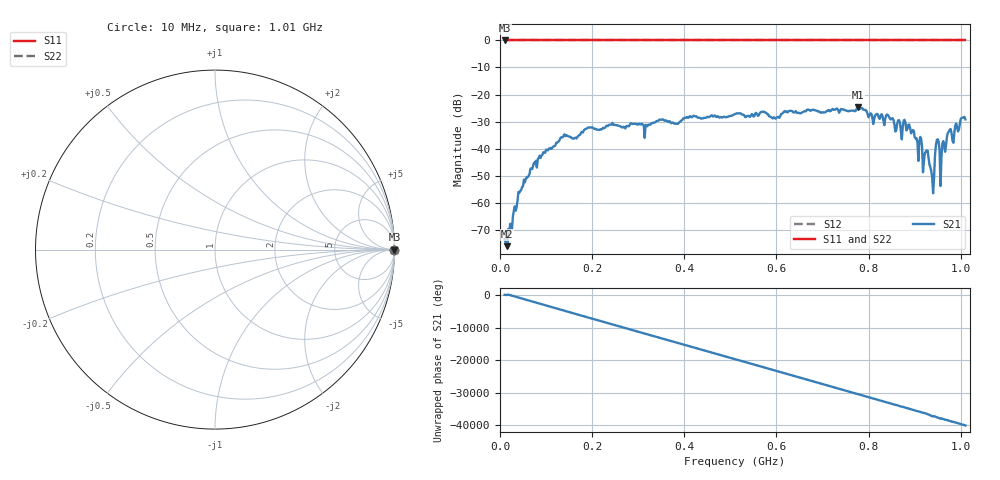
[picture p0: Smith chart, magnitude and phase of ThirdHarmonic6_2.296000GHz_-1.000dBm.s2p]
! 8/17/2025 3:05:09 AM
! C:\ANRITSUVNA\TEMP\TEMP.S2P
! CHANNEL.1
! TR.MEASUREMENT
! RAW.DATA
! RF.CORRECTION.OFF
! AVERAGING.OFF
! IF.BANDWIDTH: 5KHZ
! SWEEPTYPE:  FREQ.SWEEP(Linear)
! Reference Plane Port Info
! PORT:  PORT1  PORT2
! DISTANCE:  0  m  0  m
! TIME:  0  s  0  s
! PHASE.OFFSET:  0  deg.  0  deg.
! LOSS:  0  dB  0  dB
! REF.LOSS:  0  dB  0  dB
! REF.FREQ:  0  Hz  0  Hz
! Power Info
! POWER:  -20  dBm  -20  dBm
! EFF.POWER:  -20  dBm  -20  dBm
! SOURCE.ATTEN:  0  dB  0  dB
! TEST.ATTEN:  0  dB  0  dB
# GHZ S RI R 50.0
! FREQ.GHZ  S11RE  S11IM  S21RE  S21IM  S12RE  S12IM  S22RE  S22IM
!; PortSelection: Port_12
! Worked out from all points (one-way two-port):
!   501 points, 10 MHz to 1.01 GHz, reference 50 ohm
!   highest |S21| = -24.72 dB at 776 MHz (marker M1); lowest = -76.1 dB at 16 MHz (marker M2)
!   lowest |S11| = 0.0 dB at 10 MHz (marker M3)
!   |S11| at or under -10 dB: nowhere
!   |S22| runs from 0.0 to 0.0 dB; largest |S21 - S12| = 1.1
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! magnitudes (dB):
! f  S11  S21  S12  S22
! 10 MHz  0.0  -73.5  0.0  0.0
! 16 MHz  0.0  -76.1  0.0  0.0
! 44 MHz  0.0  -55.6  0.0  0.0
! 70 MHz  0.0  -47.6  0.0  0.0
! 136 MHz  0.0  -35.8  0.0  0.0
! 178 MHz  0.0  -33.8  0.0  0.0
! 344 MHz  0.0  -29.7  0.0  0.0
! 510 MHz  0.0  -27.2  0.0  0.0
! 596 MHz  0.0  -28.6  0.0  0.0
! 678 MHz  0.0  -25.7  0.0  0.0
! 776 MHz  0.0  -24.7  0.0  0.0
! 844 MHz  0.0  -28.1  0.0  0.0
! 894 MHz  0.0  -33.9  0.0  0.0
! 920 MHz  0.0  -44.8  0.0  0.0
! 926 MHz  0.0  -40.7  0.0  0.0
! 938 MHz  0.0  -50.9  0.0  0.0
! 942 MHz  0.0  -50.8  0.0  0.0
! 948 MHz  0.0  -36.8  0.0  0.0
! 958 MHz  0.0  -43.5  0.0  0.0
! 974 MHz  0.0  -33.8  0.0  0.0
! 984 MHz  0.0  -37.9  0.0  0.0
! 1.01 GHz  0.0  -29.2  0.0  0.0
